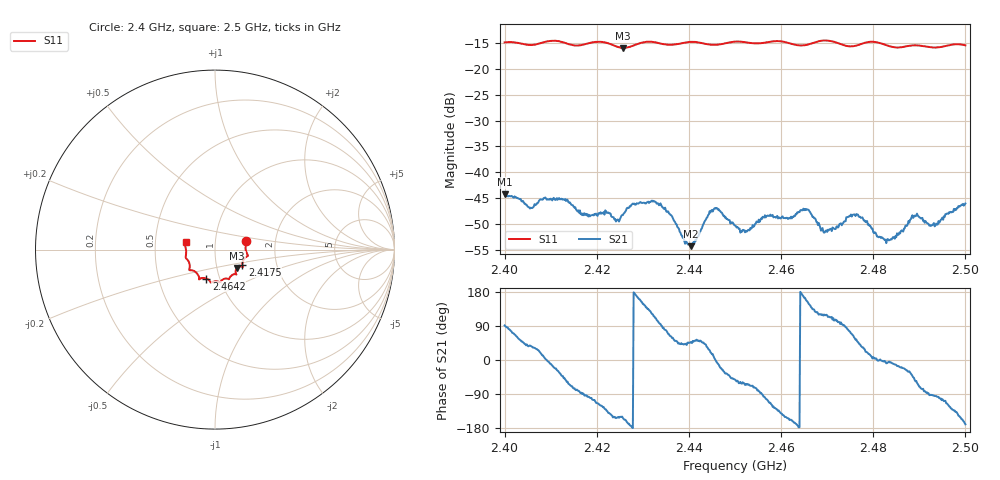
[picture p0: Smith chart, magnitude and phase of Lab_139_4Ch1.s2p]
# Hz S RI R 50
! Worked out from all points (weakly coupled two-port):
!   601 points, 2.4 GHz to 2.5 GHz, reference 50 ohm
!   highest |S21| = -44.29 dB at 2.4 GHz (marker M1); lowest = -54.3 dB at 2.4405 GHz (marker M2)
!   lowest |S11| = -15.9 dB at 2.4257 GHz (marker M3), VSWR 1.38, Z = 62.5 - j13.1 ohm
!   |S11| at or under -10 dB: start of sweep to end of sweep
!   S12 and S22 are empty: the file has one direction only
!   S11 on the Smith chart (normalised r, x): 2.4 GHz: 1.41, +0.14; 2.4175 GHz: 1.34, -0.23; 2.4642 GHz: 0.86, -0.29; 2.5 GHz: 0.72, +0.06
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2.4e9  0.1737 0.0492  -0.000132 0.0061  0 0  0 0
2.405667e9  0.17 0.00638  0.00362 0.00274  0 0  0 0
2.408333e9  0.1792 -0.0234  0.00535 0.00112  0 0  0 0
2.413167e9  0.1733 -0.041  0.00342 -0.00429  0 0  0 0
2.416667e9  0.1529 -0.0741  0.000261 -0.00398  0 0  0 0
2.4175e9  0.152 -0.0838  -0.000258 -0.00387  0 0  0 0
2.425667e9  0.1229 -0.1018  -0.00343 -0.00176  0 0  0 0
2.427667e9  0.1147 -0.1204  -0.00489 -0.000159  0 0  0 0
2.433333e9  0.1136 -0.137  -0.000959 0.00489  0 0  0 0
2.4405e9  0.0785 -0.1648  0.00133 0.00139  0 0  0 0
2.4455e9  0.0516 -0.1629  0.00443 0.000423  0 0  0 0
2.45e9  0.0289 -0.1812  0.00189 -0.00239  0 0  0 0
2.452667e9  0.0195 -0.1786  0.00121 -0.0024  0 0  0 0
2.4565e9  -0.0102 -0.1792  -0.00058 -0.00379  0 0  0 0
2.464167e9  -0.048 -0.1615  -0.00427 4.3e-06  0 0  0 0
2.466667e9  -0.0763 -0.159  -0.00285 0.00261  0 0  0 0
2.469667e9  -0.0886 -0.1662  -0.00129 0.00238  0 0  0 0
2.476333e9  -0.12 -0.1176  0.0023 0.00319  0 0  0 0
2.483333e9  -0.1405 -0.0896  0.00219 -0.000191  0 0  0 0
2.489e9  -0.1628 -0.045  0.00231 -0.00303  0 0  0 0
2.493e9  -0.1606 -0.0139  -0.000224 -0.00314  0 0  0 0
2.5e9  -0.1637 0.0425  -0.00491 -0.000893  0 0  0 0
